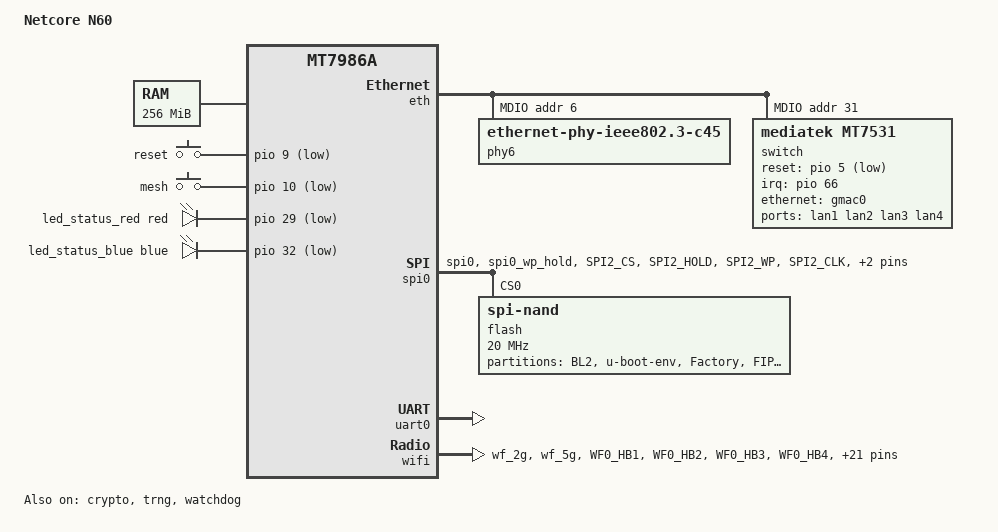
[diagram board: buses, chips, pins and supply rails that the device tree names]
// SPDX-License-Identifier: GPL-2.0-or-later OR MIT

/dts-v1/;
#include <dt-bindings/gpio/gpio.h>
#include <dt-bindings/input/input.h>
#include <dt-bindings/leds/common.h>
#include <dt-bindings/pinctrl/mt65xx.h>

#include "mt7986a.dtsi"

/ {
	model = "Netcore N60";
	compatible = "netcore,n60", "mediatek,mt7986a";

	aliases {
		serial0 = &uart0;
		label-mac-device = &gmac0;
		led-boot = &led_status_red;
		led-failsafe = &led_status_red;
		led-running = &led_status_blue;
		led-upgrade = &led_status_blue;
	};

	chosen {
		bootargs-append = " root=/dev/fit0 rootwait";
		rootdisk = <&ubi_rootdisk>;
		stdout-path = "serial0:115200n8";
	};

	memory@40000000 {
		reg = <0 0x40000000 0 0x10000000>;
		device_type = "memory";
	};

	keys {
		compatible = "gpio-keys";

		reset {
			label = "reset";
			linux,code = <KEY_RESTART>;
			gpios = <&pio 9 GPIO_ACTIVE_LOW>;
		};

		mesh {
			label = "mesh";
			linux,code = <KEY_WPS_BUTTON>;
			gpios = <&pio 10 GPIO_ACTIVE_LOW>;
		};
	};

	leds {
		compatible = "gpio-leds";

		led_status_red: status-red {
			color = <LED_COLOR_ID_RED>;
			function = LED_FUNCTION_STATUS;
			gpios = <&pio 29 GPIO_ACTIVE_LOW>;
		};

		led_status_blue: status-blue {
			color = <LED_COLOR_ID_BLUE>;
			function = LED_FUNCTION_STATUS;
			gpios = <&pio 32 GPIO_ACTIVE_LOW>;
		};
	};
};

&crypto {
	status = "okay";
};

&eth {
	status = "okay";

	gmac0: mac@0 {
		compatible = "mediatek,eth-mac";
		reg = <0>;
		phy-mode = "2500base-x";

		nvmem-cells = <&macaddr_lan>;
		nvmem-cell-names = "mac-address";

		fixed-link {
			speed = <2500>;
			full-duplex;
			pause;
		};
	};

	gmac1: mac@1 {
		compatible = "mediatek,eth-mac";
		reg = <1>;
		phy-handle = <&phy6>;
		phy-mode = "2500base-x";

		nvmem-cells = <&macaddr_wan>;
		nvmem-cell-names = "mac-address";
	};

	mdio: mdio-bus {
		#address-cells = <1>;
		#size-cells = <0>;
	};
};

&mdio {
	reset-delay-us = <600>;
	reset-post-delay-us = <20000>;
	reset-gpios = <&pio 6 GPIO_ACTIVE_LOW>;

	phy6: phy@6 {
		compatible = "ethernet-phy-ieee802.3-c45";
		reg = <6>;

		leds {
			#address-cells = <1>;
			#size-cells = <0>;

			led@3 {
				reg = <3>;
				color = <LED_COLOR_ID_GREEN>;
				function = LED_FUNCTION_WAN;
			};
		};
	};

	switch: switch@1f {
		compatible = "mediatek,mt7531";
		reg = <31>;
		reset-gpios = <&pio 5 GPIO_ACTIVE_LOW>;
		interrupt-controller;
		#interrupt-cells = <1>;
		interrupt-parent = <&pio>;
		interrupts = <66 IRQ_TYPE_LEVEL_HIGH>;
	};
};

&switch {
	ports {
		#address-cells = <1>;
		#size-cells = <0>;

		port@0 {
			reg = <0>;
			label = "lan1";
		};

		port@1 {
			reg = <1>;
			label = "lan2";
		};

		port@3 {
			reg = <3>;
			label = "lan3";
		};

		port@4 {
			reg = <4>;
			label = "lan4";
		};

		port@6 {
			reg = <6>;
			ethernet = <&gmac0>;
			phy-mode = "2500base-x";

			fixed-link {
				speed = <2500>;
				full-duplex;
				pause;
			};
		};
	};
};

&spi0 {
	pinctrl-names = "default";
	pinctrl-0 = <&spi_flash_pins>;
	status = "okay";

	flash@0 {
		compatible = "spi-nand";
		#address-cells = <1>;
		#size-cells = <1>;
		reg = <0>;

		spi-max-frequency = <20000000>;
		spi-tx-bus-width = <4>;
		spi-rx-bus-width = <4>;

		partitions {
			compatible = "fixed-partitions";
			#address-cells = <1>;
			#size-cells = <1>;

			partition@0 {
				label = "BL2";
				reg = <0x0000000 0x0100000>;
				read-only;
			};

			partition@100000 {
				label = "u-boot-env";
				reg = <0x0100000 0x0080000>;
			};

			factory: partition@180000 {
				label = "Factory";
				reg = <0x0180000 0x0200000>;
				read-only;
			};

			partition@380000 {
				label = "FIP";
				reg = <0x0380000 0x0200000>;
				read-only;
			};

			partition@580000 {
				label = "ubi";
				reg = <0x0580000 0x7280000>;
				compatible = "linux,ubi";

				volumes {
					ubi_rootdisk: ubi-volume-fit {
						volname = "fit";
					};
				};
			};
		};
	};
};

&pio {
	spi_flash_pins: spi-flash-pins-33-to-38 {
		mux {
			function = "spi";
			groups = "spi0", "spi0_wp_hold";
		};
		conf-pu {
			pins = "SPI2_CS", "SPI2_HOLD", "SPI2_WP";
			drive-strength = <MTK_DRIVE_8mA>;
			bias-disable; /* bias-disable */
		};
		conf-pd {
			pins = "SPI2_CLK", "SPI2_MOSI", "SPI2_MISO";
			drive-strength = <MTK_DRIVE_8mA>;
			bias-disable; /* bias-disable */
		};
	};

	wf_2g_5g_pins: wf_2g_5g-pins {
		mux {
			function = "wifi";
			groups = "wf_2g", "wf_5g";
		};
		conf {
			pins = "WF0_HB1", "WF0_HB2", "WF0_HB3", "WF0_HB4",
			       "WF0_HB0", "WF0_HB0_B", "WF0_HB5", "WF0_HB6",
			       "WF0_HB7", "WF0_HB8", "WF0_HB9", "WF0_HB10",
			       "WF0_TOP_CLK", "WF0_TOP_DATA", "WF1_HB1",
			       "WF1_HB2", "WF1_HB3", "WF1_HB4", "WF1_HB0",
			       "WF1_HB5", "WF1_HB6", "WF1_HB7", "WF1_HB8",
			       "WF1_TOP_CLK", "WF1_TOP_DATA";
			drive-strength = <MTK_DRIVE_4mA>;
		};
	};
};

&trng {
	status = "okay";
};

&uart0 {
	status = "okay";
};

&watchdog {
	status = "okay";
};

&wifi {
	status = "okay";
	pinctrl-names = "default";
	pinctrl-0 = <&wf_2g_5g_pins>;

	mediatek,mtd-eeprom = <&factory 0x0>;
};

&factory {
	nvmem-layout {
		compatible = "fixed-layout";
		#address-cells = <1>;
		#size-cells = <1>;

		macaddr_lan: macaddr@1fef20 {
			reg = <0x1fef20 0x6>;
		};

		macaddr_wan: macaddr@1fef26 {
			reg = <0x1fef26 0x6>;
		};
	};
};
